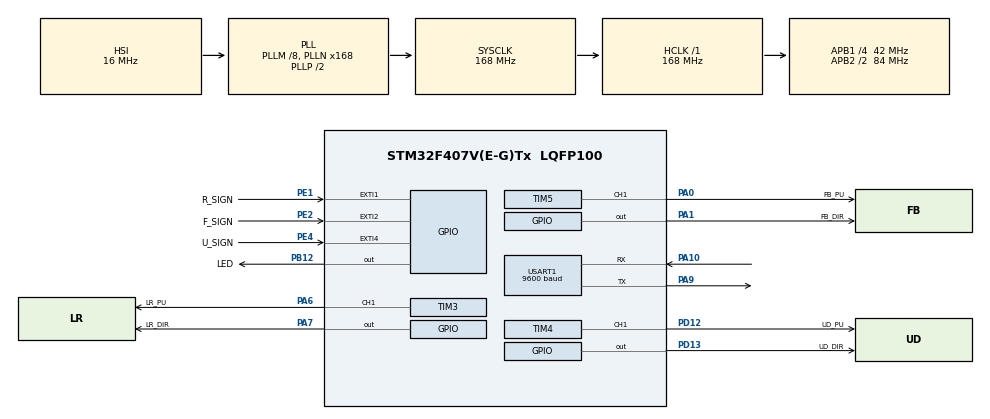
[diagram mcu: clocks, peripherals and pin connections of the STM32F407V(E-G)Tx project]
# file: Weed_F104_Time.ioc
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Dma.Request0=USART1_RX
Dma.Request1=USART1_TX
Dma.USART1_RX.0.Direction=DMA_PERIPH_TO_MEMORY
Dma.USART1_RX.0.FIFOMode=DMA_FIFOMODE_DISABLE
Dma.USART1_RX.0.Instance=DMA2_Stream2
Dma.USART1_RX.0.MemDataAlignment=DMA_MDATAALIGN_BYTE
Dma.USART1_RX.0.MemInc=DMA_MINC_ENABLE
Dma.USART1_RX.0.Mode=DMA_NORMAL
Dma.USART1_RX.0.PeriphDataAlignment=DMA_PDATAALIGN_BYTE
Dma.USART1_RX.0.PeriphInc=DMA_PINC_DISABLE
Dma.USART1_RX.0.Priority=DMA_PRIORITY_LOW
Dma.USART1_TX.1.Direction=DMA_MEMORY_TO_PERIPH
Dma.USART1_TX.1.FIFOMode=DMA_FIFOMODE_DISABLE
Dma.USART1_TX.1.Instance=DMA2_Stream7
Dma.USART1_TX.1.MemDataAlignment=DMA_MDATAALIGN_BYTE
Dma.USART1_TX.1.MemInc=DMA_MINC_ENABLE
Dma.USART1_TX.1.Mode=DMA_NORMAL
Dma.USART1_TX.1.PeriphDataAlignment=DMA_PDATAALIGN_BYTE
Dma.USART1_TX.1.PeriphInc=DMA_PINC_DISABLE
Dma.USART1_TX.1.Priority=DMA_PRIORITY_HIGH
Mcu.Family=STM32F4
Mcu.Name=STM32F407V(E-G)Tx
Mcu.Package=LQFP100
NVIC.DMA2_Stream2_IRQn=true\:0\:0\:false\:false\:true\:false\:true
NVIC.DMA2_Stream7_IRQn=true\:0\:0\:false\:false\:true\:false\:true
NVIC.EXTI1_IRQn=true\:0\:0\:false\:false\:true\:true\:true
NVIC.EXTI2_IRQn=true\:0\:0\:false\:false\:true\:true\:true
NVIC.EXTI4_IRQn=true\:0\:0\:false\:false\:true\:true\:true
NVIC.PriorityGroup=NVIC_PRIORITYGROUP_2
NVIC.TIM3_IRQn=true\:2\:0\:true\:false\:true\:true\:true
NVIC.TIM4_IRQn=true\:2\:0\:true\:false\:true\:true\:true
NVIC.TIM5_IRQn=true\:2\:0\:true\:false\:true\:true\:true
NVIC.USART1_IRQn=true\:1\:0\:true\:false\:true\:true\:true
PA0-WKUP.GPIO_Label=FB_PU
PA0-WKUP.GPIO_Speed=GPIO_SPEED_FREQ_VERY_HIGH
PA0-WKUP.Signal=S_TIM5_CH1
PA1.GPIO_Label=FB_DIR
PA1.GPIO_Speed=GPIO_SPEED_FREQ_HIGH
PA1.PinState=GPIO_PIN_SET
PA1.Signal=GPIO_Output
PA10.Mode=Asynchronous
PA10.Signal=USART1_RX
PA13.Mode=Serial_Wire
PA13.Signal=SYS_JTMS-SWDIO
PA14.Mode=Serial_Wire
PA14.Signal=SYS_JTCK-SWCLK
PA6.GPIO_Label=LR_PU
PA6.GPIO_Speed=GPIO_SPEED_FREQ_VERY_HIGH
PA6.Signal=S_TIM3_CH1
PA7.GPIO_Label=LR_DIR
PA7.GPIO_Speed=GPIO_SPEED_FREQ_HIGH
PA7.PinState=GPIO_PIN_SET
PA7.Signal=GPIO_Output
PA9.Mode=Asynchronous
PA9.Signal=USART1_TX
PB12.GPIO_Label=LED
PB12.Signal=GPIO_Output
PC14-OSC32_IN.Mode=LSE-External-Oscillator
PC14-OSC32_IN.Signal=RCC_OSC32_IN
PC15-OSC32_OUT.Mode=LSE-External-Oscillator
PC15-OSC32_OUT.Signal=RCC_OSC32_OUT
PD12.GPIO_Label=UD_PU
PD12.GPIO_Speed=GPIO_SPEED_FREQ_VERY_HIGH
PD12.Signal=S_TIM4_CH1
PD13.GPIO_Label=UD_DIR
PD13.GPIO_Speed=GPIO_SPEED_FREQ_HIGH
PD13.PinState=GPIO_PIN_SET
PD13.Signal=GPIO_Output
PE1.GPIO_Label=R_SIGN
PE1.GPIO_ModeDefaultEXTI=GPIO_MODE_IT_FALLING
PE1.GPIO_PuPd=GPIO_PULLUP
PE1.Signal=GPXTI1
PE2.GPIO_Label=F_SIGN
PE2.GPIO_ModeDefaultEXTI=GPIO_MODE_IT_FALLING
PE2.GPIO_PuPd=GPIO_PULLUP
PE2.Signal=GPXTI2
PE4.GPIO_Label=U_SIGN
PE4.GPIO_ModeDefaultEXTI=GPIO_MODE_IT_FALLING
PE4.GPIO_PuPd=GPIO_PULLUP
PE4.Signal=GPXTI4
PH0-OSC_IN.Mode=HSE-External-Oscillator
PH0-OSC_IN.Signal=RCC_OSC_IN
PH1-OSC_OUT.Mode=HSE-External-Oscillator
PH1-OSC_OUT.Signal=RCC_OSC_OUT
ProjectManager.HeapSize=0x200
ProjectManager.StackSize=0x400
ProjectManager.TargetToolchain=MDK-ARM V5.27
RCC.48MHZClocksFreq_Value=84000000
RCC.AHBFreq_Value=168000000
RCC.APB1CLKDivider=RCC_HCLK_DIV4
RCC.APB1Freq_Value=42000000
RCC.APB1TimFreq_Value=84000000
RCC.APB2CLKDivider=RCC_HCLK_DIV2
RCC.APB2Freq_Value=84000000
RCC.APB2TimFreq_Value=168000000
RCC.CortexFreq_Value=168000000
RCC.HCLKFreq_Value=168000000
RCC.HSE_VALUE=8000000
RCC.HSI_VALUE=16000000
RCC.PLLM=8
RCC.PLLN=168
RCC.SYSCLKFreq_VALUE=168000000
RCC.SYSCLKSource=RCC_SYSCLKSOURCE_PLLCLK
RCC.VCOOutputFreq_Value=336000000
SH.S_TIM3_CH1.0=TIM3_CH1,PWM Generation1 CH1
SH.S_TIM4_CH1.0=TIM4_CH1,PWM Generation1 CH1
SH.S_TIM5_CH1.0=TIM5_CH1,PWM Generation1 CH1
TIM3.AutoReloadPreload=TIM_AUTORELOAD_PRELOAD_ENABLE
TIM3.Channel-PWM\ Generation1\ CH1=TIM_CHANNEL_1
TIM3.Period=100
TIM3.Prescaler=41
TIM3.Pulse-PWM\ Generation1\ CH1=50
TIM4.AutoReloadPreload=TIM_AUTORELOAD_PRELOAD_ENABLE
TIM4.Channel-PWM\ Generation1\ CH1=TIM_CHANNEL_1
TIM4.Period=100
TIM4.Prescaler=41
TIM4.Pulse-PWM\ Generation1\ CH1=50
TIM5.AutoReloadPreload=TIM_AUTORELOAD_PRELOAD_ENABLE
TIM5.Channel-PWM\ Generation1\ CH1=TIM_CHANNEL_1
TIM5.Period=100
TIM5.Prescaler=41
TIM5.Pulse-PWM\ Generation1\ CH1=50
USART1.BaudRate=9600
USART1.VirtualMode=VM_ASYNC
VP_TIM3_VS_ClockSourceINT.Mode=Internal
VP_TIM4_VS_ClockSourceINT.Mode=Internal
VP_TIM5_VS_ClockSourceINT.Mode=Internal
board=custom

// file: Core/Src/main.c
/* USER CODE BEGIN Header */
/**
  ******************************************************************************
  * @file           : main.c
  * @brief          : Main program body
  ******************************************************************************
  * @attention
  *
  * <h2><center>&copy; Copyright (c) 2021 STMicroelectronics.
  * All rights reserved.</center></h2>
  *
  * This software component is licensed by ST under BSD 3-Clause license,
  * the "License"; You may not use this file except in compliance with the
  * License. You may obtain a copy of the License at:
  *                        opensource.org/licenses/BSD-3-Clause
  *
  ******************************************************************************
  */
/* USER CODE END Header */
#include "main.h"
#include "dma.h"
#include "tim.h"
#include "usart.h"
#include "gpio.h"

/* USER CODE BEGIN PD */

uint8_t ReceiveBuff[RECEIVEBUFFNUMBER]; //DMA接受到的数据存放在这个数组中
int RealReciveDateNumber;               //接受到的数据的真实长度

uint8_t CompleteState = 0Xff;      //指定机构走到位置完成标志位

int OneMillimeterPluse = 320 ;   //表示1mm需要320个脉冲才行

int Instruction =0x55;   //指令是什么，归零，位置模式移动，增量模式移动,或者其他

//定义三个限位开关的状态，在外部中断中给他赋值
int ULimitSwithcState = 0x00;   //定义向上的限位开关的状态，0x00代表限位开关没有打开，0x01代表执行机构到了限位开关的位置，也就是LED会亮
int FLimitSwithcState = 0x00;   //定义向后的限位开关的状态，0x00代表限位开关没有打开，0x01代表执行机构到了限位开关的位置，也就是LED会亮
int RLimitSwithcState = 0x00;   //定义向右的限位开关的状态，0x00代表限位开关没有打开，0x01代表执行机构到了限位开关的位置，也就是LED会亮

 //定义各个轴走的距离
int XDistance = 0;
int YDistance = 0;
int ZDistance = 0;

//定义从X,Y,Z的位置信息。移动的时候记录
int XPosition = 0;
int YPosition = 0;
int ZPosition = 0;

//定义移动方向

GPIO_PinState XNextDir;
GPIO_PinState YNextDir;
GPIO_PinState ZNextDir;

int XNextPosition; //定义从X,Y,Z的下一刻位置信息。
int YNextPosition;
int ZNextPosition;

//定义各个轴需要走的脉冲个数
int XDistancePluse = 0;
int YDistancePluse = 0;
int ZDistancePluse = 0;

//定义三个电机的方向，这个不是全局变量，只能在main.c中使用
//GPIO_PinState XDir = GPIO_PIN_SET;
//GPIO_PinState YDir = GPIO_PIN_SET;
//GPIO_PinState ZDir = GPIO_PIN_SET;

/* USER CODE END PD */

void SystemClock_Config(void);
/* USER CODE BEGIN PFP */

void GoForwardBack(void);   //定义向前向后走的函数
void GoLeftRight(void);
void GoUpDown(void);

/* USER CODE END PFP */

int main(void)
{

  /* MCU Configuration--------------------------------------------------------*/

  /* Reset of all peripherals, Initializes the Flash interface and the Systick. */
  HAL_Init();

  /* Configure the system clock */
  SystemClock_Config();

  /* Initialize all configured peripherals */
  MX_GPIO_Init();
  MX_DMA_Init();
  MX_TIM3_Init();
  MX_TIM4_Init();
  MX_TIM5_Init();
  MX_USART1_UART_Init();
  /* USER CODE BEGIN 2 */

	//下面的串口这些操作不能放在begin1中，因为还没有串口初始化就操作。
	__HAL_UART_CLEAR_IDLEFLAG(&huart1);
	__HAL_UART_ENABLE_IT(&huart1,UART_IT_IDLE);
	HAL_UART_Receive_DMA(&huart1,ReceiveBuff,RECEIVEBUFFNUMBER);

	//Time3,TIME4,TIME5都挂在APB1上，速度为84Mhz
	//开启时钟3.4.5的时钟
	HAL_TIM_Base_Start(&htim3);
	HAL_TIM_Base_Start(&htim4);
	HAL_TIM_Base_Start(&htim5);

  /* USER CODE END 2 */

  /* Infinite loop */
  /* USER CODE BEGIN WHILE */
  while (1)
  {

		if(Instruction == 0x50 )  //归零
		{
			Instruction = 0x55 ;
			GoForwardBack();
			GoLeftRight();
			GoUpDown();
		}

		else if(Instruction == 0x51)
		{
			Instruction = 0x55;    //两个触发条件 1.如果距离大于0，并且限位开关没有触发 ； 2.如果移动距离大于0，限位开关触发（reset触发），但是移动方向为正方向
			GoForwardBack();
			GoLeftRight();
			GoUpDown();
		}

		else if(Instruction == 0x52)
		{
			Instruction = 0x55;    //两个触发条件 1.如果距离大于0，并且限位开关没有触发 ； 2.如果移动距离大于0，限位开关触发（reset触发），但是移动方向为正方向
			GoForwardBack();
			GoLeftRight();
			GoUpDown();
		}

		else
		{

		}

    /* USER CODE END WHILE */

  }
}

void SystemClock_Config(void)
{
  RCC_OscInitTypeDef RCC_OscInitStruct = {0};
  RCC_ClkInitTypeDef RCC_ClkInitStruct = {0};

  /** Configure the main internal regulator output voltage
  */
  __HAL_RCC_PWR_CLK_ENABLE();
  __HAL_PWR_VOLTAGESCALING_CONFIG(PWR_REGULATOR_VOLTAGE_SCALE1);
  /** Initializes the RCC Oscillators according to the specified parameters
  * in the RCC_OscInitTypeDef structure.
  */
  RCC_OscInitStruct.OscillatorType = RCC_OSCILLATORTYPE_HSI;
  RCC_OscInitStruct.HSIState = RCC_HSI_ON;
  RCC_OscInitStruct.HSICalibrationValue = RCC_HSICALIBRATION_DEFAULT;
  RCC_OscInitStruct.PLL.PLLState = RCC_PLL_ON;
  RCC_OscInitStruct.PLL.PLLSource = RCC_PLLSOURCE_HSI;
  RCC_OscInitStruct.PLL.PLLM = 8;
  RCC_OscInitStruct.PLL.PLLN = 168;
  RCC_OscInitStruct.PLL.PLLP = RCC_PLLP_DIV2;
  RCC_OscInitStruct.PLL.PLLQ = 4;
  if (HAL_RCC_OscConfig(&RCC_OscInitStruct) != HAL_OK)
  {
    Error_Handler();
  }
  /** Initializes the CPU, AHB and APB buses clocks
  */
  RCC_ClkInitStruct.ClockType = RCC_CLOCKTYPE_HCLK|RCC_CLOCKTYPE_SYSCLK
                              |RCC_CLOCKTYPE_PCLK1|RCC_CLOCKTYPE_PCLK2;
  RCC_ClkInitStruct.SYSCLKSource = RCC_SYSCLKSOURCE_PLLCLK;
  RCC_ClkInitStruct.AHBCLKDivider = RCC_SYSCLK_DIV1;
  RCC_ClkInitStruct.APB1CLKDivider = RCC_HCLK_DIV4;
  RCC_ClkInitStruct.APB2CLKDivider = RCC_HCLK_DIV2;

  if (HAL_RCC_ClockConfig(&RCC_ClkInitStruct, FLASH_LATENCY_5) != HAL_OK)
  {
    Error_Handler();
  }
}

/* USER CODE BEGIN 4 */

//向前向后也就是X轴，向前的脉冲是连接到了定时器5的CH1通道，也就是PA0
void GoForwardBack()
{
	 XDistancePluse = XDistance * OneMillimeterPluse;
	 if(XDistancePluse != 0)
	 {
		 	HAL_GPIO_WritePin(FB_DIR_GPIO_Port,FB_DIR_Pin,XNextDir);
			HAL_TIM_PWM_Start_IT(&htim5,TIM_CHANNEL_1);    //开启PWM信号，也就是让电机转动了，当在中断中判断电机走到位了后，就停止
	 }

}

//向左右走也就是Y轴，向前的脉冲是连接到了定时器3的CH1通道，也就是PA6
void GoLeftRight()
{

		YDistancePluse = YDistance * OneMillimeterPluse;
		if(YDistancePluse != 0)
		{
			HAL_GPIO_WritePin(LR_DIR_GPIO_Port,LR_DIR_Pin,YNextDir);
			HAL_TIM_PWM_Start_IT(&htim3,TIM_CHANNEL_1);    //开启PWM信号，也就是让电机转动了，当在中断中判断电机走到位了后，就停止
		}

}

//向上下走也就是Z轴，向前的脉冲是连接到了定时器4的CH1通道，也就是PD12
void GoUpDown()
{

	ZDistancePluse = ZDistance * OneMillimeterPluse;
	if(ZDistancePluse != 0)
	{
			HAL_GPIO_WritePin(UD_DIR_GPIO_Port,UD_DIR_Pin,ZNextDir);
			HAL_TIM_PWM_Start_IT(&htim4,TIM_CHANNEL_1);    //开启PWM信号，也就是让电机转动了，当在中断中判断电机走到位了后，就停止
	}
}

//一个PWM脉冲完成后就进入这个中断
void HAL_TIM_PWM_PulseFinishedCallback(TIM_HandleTypeDef *htim)
{

	if(htim == &htim3)  //y轴走
	{
			//先判断限位开关有没有触发
			RLimitSwithcState = HAL_GPIO_ReadPin(R_SIGN_GPIO_Port,R_SIGN_Pin) ;
	    if(RLimitSwithcState == 0  && YNextDir == GPIO_PIN_RESET)
			{
				YDistancePluse = 0;
			}

		  static int TemporaryYPluse = 0;
			if(TemporaryYPluse++ >= YDistancePluse)
			{
				TemporaryYPluse =0;
				HAL_TIM_PWM_Stop(&htim3, TIM_CHANNEL_1);
				YPosition=YNextPosition;  //更新XYZ的新的位置
				HAL_UART_Transmit(&huart1,&CompleteState,1,10);
			}
	}

	else if(htim == &htim4) //z轴走
	{
		ULimitSwithcState = HAL_GPIO_ReadPin(U_SIGN_GPIO_Port,U_SIGN_Pin) ;
		if(ULimitSwithcState == 0  && ZNextDir == GPIO_PIN_RESET)
		{
			ZDistancePluse = 0;
		}

		static int TemporaryZPluse=0;
		if(TemporaryZPluse++ >= ZDistancePluse)
		{
			TemporaryZPluse=0;
			HAL_TIM_PWM_Stop(&htim4, TIM_CHANNEL_1);
			ZPosition=ZNextPosition;
			HAL_UART_Transmit(&huart1,&CompleteState,1,10);
		}
	}

	else if(htim == &htim5)   //x轴走
	{
		FLimitSwithcState = HAL_GPIO_ReadPin(F_SIGN_GPIO_Port,F_SIGN_Pin) ;
	  if(FLimitSwithcState == 0  && XNextDir == GPIO_PIN_RESET)
		{
			XDistancePluse = 0;
		}

		static int TemporaryXPluse=0;
		if(TemporaryXPluse++ >= XDistancePluse)
		{
			TemporaryXPluse = 0;
			HAL_TIM_PWM_Stop(&htim5, TIM_CHANNEL_1);
			XPosition=XNextPosition;
			HAL_UART_Transmit(&huart1,&CompleteState,1,10);
		}
	}
}

/* USER CODE END 4 */

void Error_Handler(void)
{
  __disable_irq();
  while (1)
  {
  }
}

/************************ (C) COPYRIGHT STMicroelectronics *****END OF FILE****/
